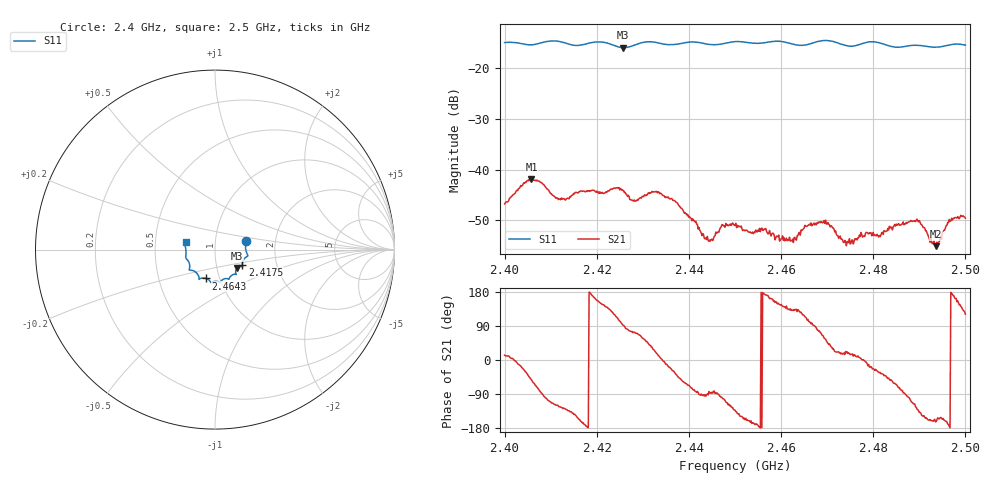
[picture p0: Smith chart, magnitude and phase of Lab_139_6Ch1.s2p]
# Hz S RI R 50
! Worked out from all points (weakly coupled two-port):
!   601 points, 2.4 GHz to 2.5 GHz, reference 50 ohm
!   highest |S21| = -41.83 dB at 2.4058 GHz (marker M1); lowest = -55.1 dB at 2.4937 GHz (marker M2)
!   lowest |S11| = -15.9 dB at 2.4257 GHz (marker M3), VSWR 1.38, Z = 62.5 - j13.1 ohm
!   |S11| at or under -10 dB: start of sweep to end of sweep
!   S12 and S22 are empty: the file has one direction only
!   S11 on the Smith chart (normalised r, x): 2.4 GHz: 1.41, +0.14; 2.4175 GHz: 1.34, -0.23; 2.4643 GHz: 0.86, -0.29; 2.5 GHz: 0.72, +0.06
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2.4e9  0.1726 0.0489  0.00449 0.00102  0 0  0 0
2.405833e9  0.1703 0.00441  0.00488 -0.00646  0 0  0 0
2.411667e9  0.1812 -0.0365  -0.00263 -0.00434  0 0  0 0
2.416667e9  0.1528 -0.0742  -0.00589 -0.00181  0 0  0 0
2.4175e9  0.1518 -0.0836  -0.00598 -0.000879  0 0  0 0
2.425667e9  0.1229 -0.1018  -0.000224 0.00623  0 0  0 0
2.428167e9  0.1147 -0.1247  0.00143 0.00482  0 0  0 0
2.433333e9  0.1131 -0.1374  0.00595 0.00126  0 0  0 0
2.437167e9  0.0862 -0.1493  0.00381 -0.00295  0 0  0 0
2.443833e9  0.0649 -0.1612  -5.5e-05 -0.00205  0 0  0 0
2.4475e9  0.0376 -0.171  -0.000612 -0.00273  0 0  0 0
2.45e9  0.0289 -0.181  -0.0019 -0.00209  0 0  0 0
2.462167e9  -0.0309 -0.1721  -0.0013 0.00151  0 0  0 0
2.464333e9  -0.0498 -0.161  -0.00149 0.00207  0 0  0 0
2.466667e9  -0.0759 -0.1593  -0.000385 0.00277  0 0  0 0
2.469833e9  -0.0886 -0.1662  0.00188 0.00224  0 0  0 0
2.474667e9  -0.103 -0.1298  0.00181 0.000611  0 0  0 0
2.483333e9  -0.1408 -0.0901  0.00172 -0.00188  0 0  0 0
2.489667e9  -0.1632 -0.0422  -0.00207 -0.00235  0 0  0 0
2.493667e9  -0.1615 -0.00621  -0.00168 -0.000539  0 0  0 0
2.496667e9  -0.1687 0.0248  -0.0031 -5.25e-05  0 0  0 0
2.5e9  -0.164 0.0429  -0.00171 0.00286  0 0  0 0
